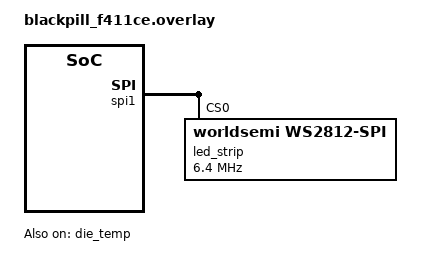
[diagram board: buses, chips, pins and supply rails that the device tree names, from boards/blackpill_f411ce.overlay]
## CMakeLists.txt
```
cmake_minimum_required(VERSION 3.20.0)

find_package(Zephyr)
project(led_display)

target_sources(app PRIVATE src/main.c)
```

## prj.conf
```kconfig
CONFIG_GPIO=y
CONFIG_SENSOR=y
CONFIG_LED_STRIP=y
```

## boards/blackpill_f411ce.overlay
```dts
#include <zephyr/dt-bindings/led/led.h>

&spi1 {
	led_strip: ws2812@0 {
		compatible = "worldsemi,ws2812-spi";

		/* SPI */
		reg = <0>; /* ignored, but necessary for SPI bindings */
		spi-max-frequency = <6400000>; /* 6.4MHz for (1.25us/8) pulse */

		/* WS2812 */
		chain-length = <512>; /* number of LEDs to use */
		spi-cpha; /* dziekuwa Kusiu */
		spi-one-frame = <0xf8>; /* 11111000 for 781.25us high and 468.75us low */
		spi-zero-frame = <0xe0>; /* 11100000 for 468.75us high and 781.25us low */
		color-mapping = <LED_COLOR_ID_GREEN
				 LED_COLOR_ID_RED
				 LED_COLOR_ID_BLUE>; /* required by driver */
	};
};

&die_temp {
	status = "okay";
};

/ {
	aliases {
		led-strip = &led_strip; /* required by driver */
		die-temp0 = &die_temp;
	};
};
```

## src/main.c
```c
#include <stdio.h>
#include <stdint.h>
#include <stdlib.h>
#include <limits.h>
//#include <unistd.h>
//#include <string.h> // memcpy

#include <zephyr/kernel.h>
#include <zephyr/device.h>
#include <zephyr/drivers/led_strip.h>
#include <zephyr/drivers/gpio.h>
#include <zephyr/drivers/sensor.h>
#include <zephyr/sys/util_macro.h> // for LISTIFY
//#include <zephyr/drivers/spi.h>
//#include <zephyr/sys/util.h>

// Zephyr specific - setup led strip
#define STRIP_NODE DT_ALIAS(led_strip)

#if DT_NODE_HAS_PROP(DT_ALIAS(led_strip), chain_length)
#define STRIP_NUM_PIXELS DT_PROP(DT_ALIAS(led_strip), chain_length)
#else
#error Unable to determine length of LED strip
#endif
// Zephyr specific - setup button
#define SW0_NODE DT_ALIAS(sw0)
#if DT_NODE_HAS_STATUS_OKAY(SW0_NODE)
#define BUTTON_TESTING_BREAK
#endif
// Zephyr specific - temperature sensor
#define DIE_TEMP_NODE DT_ALIAS(die_temp0)
#if !DT_NODE_HAS_STATUS_OKAY(DIE_TEMP_NODE)
#error "DIE_TEMP status not okay"
#endif

// Zephyr specific - ksleep() time
#define DELAY_TIME K_MSEC(100*5)
#define DELAY_FAST K_MSEC(100*1)
#define DELAY_NONE K_MSEC(1)

// Check if char is 8 bits long
#if CHAR_BIT != 8 
#error "CHAR_BIT != 8"
#endif

// Constants for the game
#define COLS 32
#define ROWS 16

#if COLS % 16 != 0
#error "bShowPixels() not sufficient for partially compressed bytes"
#endif

#if COLS*ROWS > 512
#error "translateAddress() not sufficient for more than two panels; easily expandable to an arbitrary number of panels"
#endif

#if STRIP_NUM_PIXELS < COLS*ROWS
#error "Game size bigger than  led chain length"
#endif

// not needed - performance is good enough
//#warning "TODO: translateAddress() to preprocessor magic and global static const"

// Bit definitions
#define CELL0 0x80 // 0b10000000
#define CELL1 0x40 // 0b01000000
#define CELL2 0x20 // 0b00100000
#define CELL3 0x10 // 0b00010000
#define CELL4 0x08 // 0b00001000
#define CELL5 0x04 // 0b00000100
#define CELL6 0x02 // 0b00000010
#define CELL7 0x01 // 0b00000001

// Panel drawing settings
#define MAX_LUMENS 0x08 // max brightness at 0xff
#define LUMEN_STEPS 8 // number of steps to fade out/fade in in
#define LUMEN_STEPS_PLUS_BLACK 9 // change this too -.-; it's LUMEN_STEPS + 1 but LISTIFY doesn't allow that
#define RGB_DIM(bin, _) { .r = (((MAX_LUMENS) / (LUMEN_STEPS))*(bin)), .g = (((MAX_LUMENS) / (LUMEN_STEPS))*(bin)), .b = (((MAX_LUMENS) / (LUMEN_STEPS))*(bin)) }

void setupLumcolours();

// Function prototypes
uint16_t getRandomSeed(); 
void bInitGrid(uint8_t (*)[ROWS]);
void bShowPixels(uint8_t (*)[ROWS], uint8_t (*)[ROWS], uint8_t (*)[ROWS], uint8_t (*)[ROWS], uint8_t (*)[ROWS], uint8_t (*)[ROWS]);
void bUpdateGrid(uint8_t (*)[ROWS], uint8_t (*)[ROWS]);
uint8_t bCountNeighbours(uint8_t (*)[ROWS], uint16_t, uint8_t);
uint8_t bGetCellStatus(uint8_t (*)[ROWS], uint16_t, uint8_t);
void bSetCellStatus(uint8_t (*)[ROWS], uint16_t, uint8_t, uint8_t);
uint16_t translateAddress(uint16_t, uint8_t);
#ifdef BUTTON_TESTING_BREAK
int8_t configure_button();
void button_pressed_callback(const struct device*, struct gpio_callback*, uint32_t);
#endif

// Testing
uint8_t testPanel();
uint8_t testTranslateAddress();

// Global variables
// led strip specific
static const struct device *const strip = DEVICE_DT_GET(STRIP_NODE);
static struct led_rgb lumcolours[] = { LISTIFY(LUMEN_STEPS_PLUS_BLACK, RGB_DIM, (,)) }; // for fade out/fade in; black + rest of the palette
//static struct led_rgb lumcolours[1+LUMEN_STEPS]; // for fade out/fade in; black + rest of the palette
static struct led_rgb pixels[STRIP_NUM_PIXELS]; // to display on led strip; initialized as 0s
//buffers for game of life
static uint8_t gbufferred0[COLS][ROWS];
static uint8_t gbufferred1[COLS][ROWS];
static uint8_t gbuffergreen0[COLS][ROWS];
static uint8_t gbuffergreen1[COLS][ROWS];
static uint8_t gbufferblue0[COLS][ROWS];
static uint8_t gbufferblue1[COLS][ROWS];
// button specific
#ifdef BUTTON_TESTING_BREAK
static const struct gpio_dt_spec button = GPIO_DT_SPEC_GET_OR(DT_ALIAS(sw0), gpios, {0});
static struct gpio_callback button_cb_data;
#endif
static uint8_t button_state = 0;
// die_temp specific
static const struct device *const sensor = DEVICE_DT_GET(DIE_TEMP_NODE);

int main() {

    if (!device_is_ready(strip))
        return 0;
#ifdef BUTTON_TESTING_BREAK
    if (configure_button())
        return 0;
#endif
    if (!device_is_ready(sensor))
        return 0;
    
    // Initialize memory
    uint8_t (*redgameprev)[ROWS] = gbufferred1;
    uint8_t (*redgamecurr)[ROWS] = gbufferred0;
    uint8_t (*redgamenext)[ROWS] = gbufferred1;
    uint8_t (*greengameprev)[ROWS] = gbuffergreen1;
    uint8_t (*greengamecurr)[ROWS] = gbuffergreen0;
    uint8_t (*greengamenext)[ROWS] = gbuffergreen1;
    uint8_t (*bluegameprev)[ROWS] = gbufferblue1;
    uint8_t (*bluegamecurr)[ROWS] = gbufferblue0;
    uint8_t (*bluegamenext)[ROWS] = gbufferblue1;
    uint8_t (*swapbuffer)[ROWS];
    //setupLumcolours();
    
    // Testing
#ifdef BUTTON_TESTING_BREAK
    button_state = testPanel();
    button_state = testTranslateAddress();
#else // uncomment and reflash to test if not using button
    //testPanel();
    //testTranslateAddress();
#endif

    // Initialize the grid with random values
    srand(getRandomSeed());
    bInitGrid(redgamecurr);
    bInitGrid(greengamecurr);
    bInitGrid(bluegamecurr);

    while (1) { // main loop
        // Print state
        bShowPixels(redgamecurr, redgameprev, greengamecurr, greengameprev, bluegamecurr, bluegameprev);

        // Update the grid to the next generation
        bUpdateGrid(redgamecurr, redgamenext);
        bUpdateGrid(greengamecurr, greengamenext);
        bUpdateGrid(bluegamecurr, bluegamenext);
        
        // Swap buffers
	swapbuffer = redgamecurr;
	redgamecurr = redgamenext;
	redgameprev = swapbuffer;
	redgamenext = swapbuffer;
	swapbuffer = greengamecurr;
	greengamecurr = greengamenext;
	greengameprev = swapbuffer;
	greengamenext = swapbuffer;
	swapbuffer = bluegamecurr;
	bluegamecurr = bluegamenext;
	bluegameprev = swapbuffer;
	bluegamenext = swapbuffer;
	
	// Sleep
#ifdef BUTTON_TESTING_BREAK
        while (button_state) k_sleep(DELAY_TIME);
#endif
        k_sleep(DELAY_NONE);

    }
    
    return 0;
}



void setupLumcolours() {
    /* example for: 			*
     * MAX_LUMENS == 0x08,		*
     * LUMEN_STEPS == 4			*
     * so stepsize == 0x02		*
     *   (red)0    1    2    3    4	*
     * r   0x00 0x02 0x04 0x06 0x08	*
     * g   0x00 0x02 0x04 0x06 0x08	*
     * b   0x00 0x02 0x04 0x06 0x08	*/
    const uint8_t stepsize = MAX_LUMENS / LUMEN_STEPS;
    for (uint8_t thebin = 1; thebin < LUMEN_STEPS+1; ++thebin) {
        lumcolours[thebin].r = stepsize * thebin;
        lumcolours[thebin].g = stepsize * thebin;
        lumcolours[thebin].b = stepsize * thebin;
        
    }
}

uint16_t getRandomSeed() {
    /* get LSB from each temp reading		* 
     * sleep may not be needed, but won't hurt	*/
    struct sensor_value val;
    uint16_t ret = 0;

    for (uint8_t i = 0; i < 16; ++i) {
        // fetch sensor samples
        if (sensor_sample_fetch(sensor)) continue;
        if (sensor_channel_get(sensor, SENSOR_CHAN_DIE_TEMP, &val)) continue;
        ret |= (uint16_t)(val.val2 & (0x00000001)); // least significant bit of the fractional part of the value 
        ret <<= 1;
        k_sleep(DELAY_FAST);
    }
    return ret;
    
}

// Initialize the grid with random values
void bInitGrid(uint8_t (*bgrid1)[ROWS]) { 
    int bytecols = COLS/8; // int division truncates (rounds towards 0)
    if (COLS % 8 != 0) ++bytecols;
    
    for (int col = 0; col < bytecols; ++col)
        for (int row = 0; row < ROWS; ++row)
            bgrid1[col][row] = rand() % 0xFF; // 0b11111111; // Randomly initialize BITS (cells) to either 0 or 1

}

void bShowPixels(uint8_t (*currredgrid)[ROWS], uint8_t (*prevredgrid)[ROWS], uint8_t (*currgreengrid)[ROWS], uint8_t (*prevgreengrid)[ROWS], uint8_t (*currbluegrid)[ROWS], uint8_t (*prevbluegrid)[ROWS]) {
    const uint8_t fullbytecols = COLS/8;
    
    for (uint8_t lumcolour = 0; lumcolour < LUMEN_STEPS + 1; ++lumcolour) {
        for (uint8_t row = 0; row < ROWS; ++row) {
            for (uint8_t col = 0; col < fullbytecols; ++col) {
                for (uint8_t i = 0; i < 8; ++i) {
                // RED
                    if ((currredgrid[col][row] << i) & CELL0) // move to the next bit and check the highest 
                        if ((prevredgrid[col][row] << i) & CELL0) // staying alive
                            pixels[translateAddress(col*8+i, row)].r = lumcolours[LUMEN_STEPS].r;
                        else pixels[translateAddress(col*8+i, row)].r = lumcolours[lumcolour].r; // arriving
                    else if ((prevredgrid[col][row] << i) & CELL0) // dying
                        pixels[translateAddress(col*8+i, row)].r = lumcolours[LUMEN_STEPS - lumcolour].r;
                    else // if dead
                        pixels[translateAddress(col*8+i, row)].r = 0x00;
                // GREEN
                    if ((currgreengrid[col][row] << i) & CELL0) // move to the next bit and check the highest 
                        if ((prevgreengrid[col][row] << i) & CELL0) // staying alive
                            pixels[translateAddress(col*8+i, row)].g = lumcolours[LUMEN_STEPS].g;
                        else pixels[translateAddress(col*8+i, row)].g = lumcolours[lumcolour].g; // arriving
                    else if ((prevgreengrid[col][row] << i) & CELL0) // dying
                        pixels[translateAddress(col*8+i, row)].g = lumcolours[LUMEN_STEPS - lumcolour].g;
                    else // if dead
                        pixels[translateAddress(col*8+i, row)].g = 0x00;
                // BLUE
                    if ((currbluegrid[col][row] << i) & CELL0) // move to the next bit and check the highest 
                        if ((prevbluegrid[col][row] << i) & CELL0) // staying alive
                            pixels[translateAddress(col*8+i, row)].b = lumcolours[LUMEN_STEPS].b;
                        else pixels[translateAddress(col*8+i, row)].b = lumcolours[lumcolour].b; // arriving
                    else if ((prevbluegrid[col][row] << i) & CELL0) // dying
                        pixels[translateAddress(col*8+i, row)].b = lumcolours[LUMEN_STEPS - lumcolour].b;
                    else // if dead
                        pixels[translateAddress(col*8+i, row)].b = 0x00;
                }
            }
        }
        led_strip_update_rgb(strip, pixels, STRIP_NUM_PIXELS);
    }
}

void bUpdateGrid(uint8_t (*currbgrid)[ROWS], uint8_t (*nextbgrid)[ROWS]) {
    uint8_t liveNeighbors = 0;
    for (uint8_t row = 0; row < ROWS; ++row) {
        for (uint16_t col = 0; col < COLS; ++col) {
            liveNeighbors = bCountNeighbours(currbgrid, col, row);

            if (bGetCellStatus(currbgrid, col, row)) { // if alive
                if (liveNeighbors == 2 || liveNeighbors == 3) bSetCellStatus(nextbgrid, col, row, 1); // make alive
                else bSetCellStatus(nextbgrid, col, row, 0); // make dead
            } else // if dead
                if (liveNeighbors == 3) bSetCellStatus(nextbgrid, col, row, 1); // make alive
                else bSetCellStatus(nextbgrid, col, row, 0); // make dead
        }
    }
}

uint8_t bCountNeighbours(uint8_t (*bgrid)[ROWS], uint16_t _col, uint8_t _row) {
    uint8_t nbrs = 0; // neighbour count
    for (int8_t i = -1; i <= 1; ++i) {
        for (int8_t j = -1; j <= 1; ++j) {
            if (i == 0 && j == 0) continue; // Skip the cell itself
            if (bGetCellStatus(bgrid, _col + i, _row + j)) ++nbrs; // out of bounds checked inside the function
        }
    }
    return nbrs;
}

uint8_t bGetCellStatus(uint8_t (*bgrid)[ROWS], uint16_t _col, uint8_t _row) {
    if (_col > COLS - 1 || _row > ROWS - 1) 
        return 0; // out of bounds (_col/_row == -1 -> 65535/255)
    else 
        return bgrid[_col/8][_row] & (CELL0 >> _col % 8);
    
}

void bSetCellStatus(uint8_t (*bgrid)[ROWS], uint16_t _col, uint8_t _row, uint8_t status) {
    if (status) 
        bgrid[_col/8][_row] |= (CELL0 >> _col % 8); // make alive
    else 
        bgrid[_col/8][_row] &= (~(CELL0 >> _col % 8)); // make dead
        
}

uint16_t translateAddress(uint16_t col, uint8_t row) {
    /* 32x16 grid example:					*
     *      00   01 ...   0e   0f |   10   11 ...   1e   1f	*
     * 00 000f 000e ... 0001 0000 | 01ff 01fe ... 01f1 01f0	*
     * 01 0010 0011 ... 001e 001f | 01e0 01e1 ... 01ee 01ef	*
     * 02 002f 002e ... 0021 0020 | 01df 01de ... 01d1 01d0	*
     * ...          ...           |           ...		*
     * 0e 00ef 00ee ... 00e1 00e0 | 011f 011e ... 0111 0110	*
     * 0f 00f0 00f1 ... 00fe 00ff | 0100 0101 ... 010e 010f */
    uint16_t addr;
        
    if (col < 0x0010) { // leftmost panel
        addr = 0x0000;
        addr |= (uint16_t)row << 4; // 0x00#* |= 0x000# << 4 
        if (row & 0x01) addr |= col; // if row number is odd: 0x00*# |= 0x000#
        else addr |= (0x000f - col); // if row number is even: 0x00*# |= (0x000f - 0x000#)
    } else { // rightmost panel
        addr = 0x0100;
        addr |= (uint16_t)(0x0f - row) << 4; // 0x01(f-#)* = (0x0f - 0x0#) << 4
        if (row & 0x01) addr |= (col & 0x000f); // if row number is odd: 0x01*# |= 0x000#
        else addr |= (0x000f - (col & 0x000f)); // if row number is even: 0x01*# |= (0x000f - 0x000#)
    }
    return addr;

}

uint8_t testPanel() {
    /* expected behaviour:				*
     * go through all of LEDs in order			*
     * start on leftmost panel in top right corner	*
     * finish on bottom right corner			*
     * step onto rightmost panel in bottom left corner	*
     * finish on top left corner			*/
    while (1) {
        for (uint16_t addr = 0; addr < STRIP_NUM_PIXELS; ++addr) {
            pixels[addr].r = 0x02;
            led_strip_update_rgb(strip, pixels, STRIP_NUM_PIXELS);
            k_sleep(DELAY_NONE);
            pixels[addr].r = 0x00;
            
            if (button_state) return 0;

        }
    }
}

uint8_t testTranslateAddress() {
    /* expected behaviour:		*
     * 1. start left top corner		*
     * 2. go to right top corner	*
     * 3. start left top-1 corner	*
     * 4. go to right top-1 corner	*
     * ...				*/
    while (1) {
        for (uint8_t row = 0; row < ROWS; ++row)
            for (uint16_t col = 0; col < COLS; ++col) {
                pixels[translateAddress(col, row)].r = 0x02;
                led_strip_update_rgb(strip, pixels, STRIP_NUM_PIXELS);
                k_sleep(DELAY_NONE);        
                pixels[translateAddress(col, row)].r = 0x00;
                
                if (button_state) return 0;
            }
    }
}

#ifdef BUTTON_TESTING_BREAK
int8_t configure_button() {
    if (!gpio_is_ready_dt(&button)) 
        return -1;
    
    if (gpio_pin_configure_dt(&button, GPIO_INPUT) != 0)
        return -1;

    if (gpio_pin_interrupt_configure_dt(&button, GPIO_INT_EDGE_TO_ACTIVE) != 0)
        return -1;

    gpio_init_callback(&button_cb_data, button_pressed_callback, BIT(button.pin));
    gpio_add_callback(button.port, &button_cb_data);
    return 0;
}

void button_pressed_callback(const struct device *dev, struct gpio_callback *cb,
		    uint32_t pins)
{
	button_state ^= 1;
}
#endif
```
